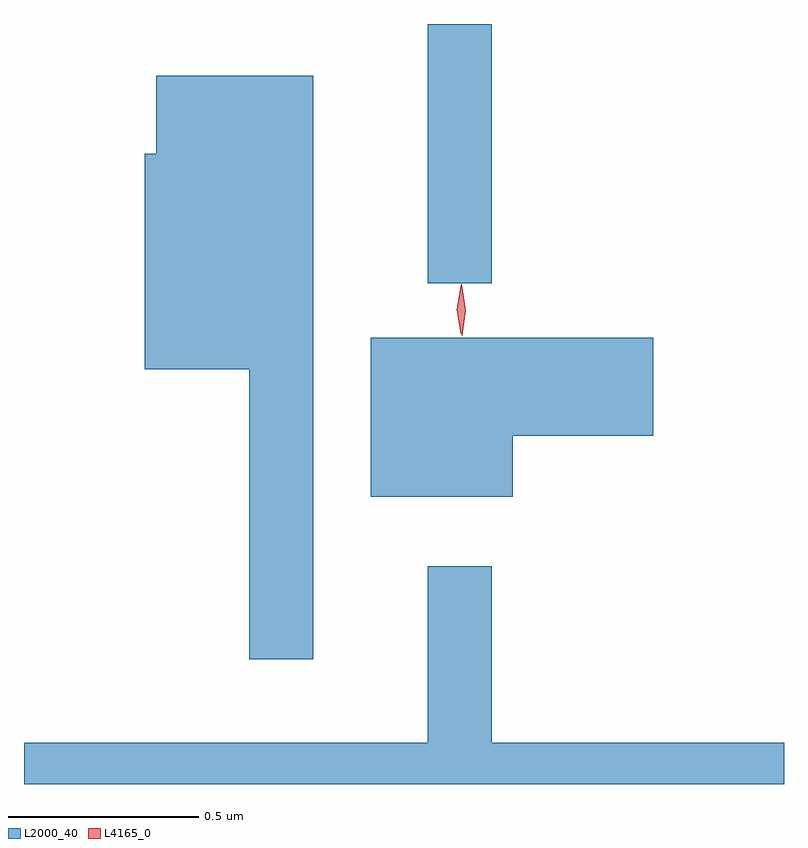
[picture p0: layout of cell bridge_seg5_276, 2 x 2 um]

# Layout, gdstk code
import gdstk
lib = gdstk.Library(unit=1e-6, precision=1e-09)
def R(c, l, rs):  # rectangles x0, y0, x1, y1
    for r in rs: c.add(gdstk.rectangle(r[:2], r[2:], *l))
def P(c, l, *ps):  # polygons
    for p in ps: c.add(gdstk.Polygon(p, *l))
L2000_40 = (2000, 40)
L4165_0 = (4165, 0)

bridge_seg5_276 = lib.new_cell('bridge_seg5_276')
R(bridge_seg5_276, L2000_40, [(1011.141,1527.093,1011.309,1527.775)])
P(bridge_seg5_276, L2000_40, [(1010.839,1527.639),(1010.426,1527.639),(1010.426,1527.434),(1010.396,1527.434),(1010.396,1526.866),(1010.671,1526.866),(1010.671,1526.103),(1010.839,1526.103)],
  [(1011.364,1526.691),(1011.734,1526.691),(1011.734,1526.949),(1010.991,1526.949),(1010.991,1526.531),(1011.364,1526.531)],
  [(1012.078,1525.884),(1011.309,1525.884),(1011.309,1526.348),(1011.141,1526.348),(1011.141,1525.884),(1010.078,1525.884),(1010.078,1525.775),(1012.078,1525.775)])
P(bridge_seg5_276, L4165_0, [(1011.23,1526.954),(1011.23,1526.954),(1011.22,1527.022),(1011.229,1527.09),(1011.229,1527.09),(1011.23,1527.09),(1011.24,1527.022),(1011.231,1526.954)],
  [(1011.227,1526.96),(1011.227,1526.96),(1011.217,1527.023),(1011.227,1527.086),(1011.227,1527.087),(1011.228,1527.086),(1011.237,1527.023),(1011.228,1526.96)])

lib.write_gds('bridge_seg5_276.gds')
